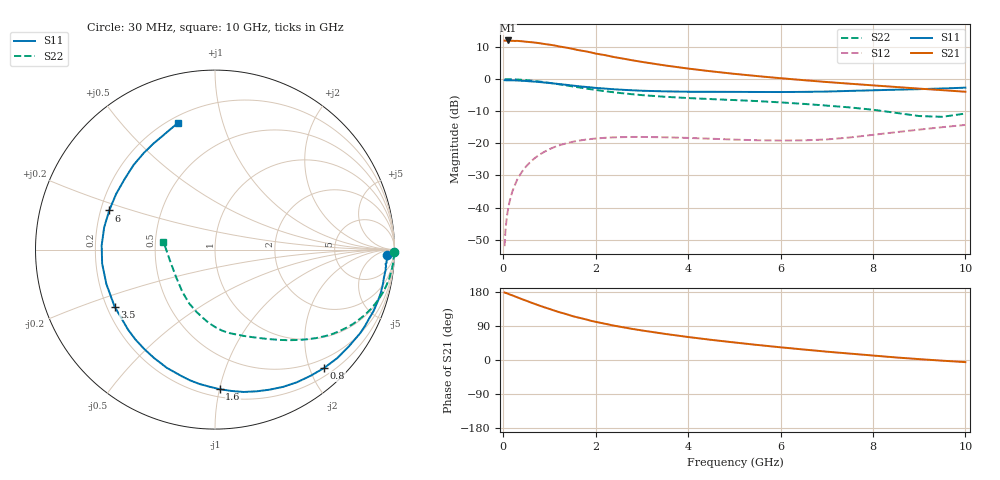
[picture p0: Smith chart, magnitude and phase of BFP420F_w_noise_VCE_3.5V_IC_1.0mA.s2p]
! Infineon Technologies  Discrete & RF Semiconductors
! BFP420F
! VCE =  3.5 V,  IC =  1.0 mA
! Common Emitter S-Parameters:  Sep 2011
# GHz  S  MA  R  50
!  f  S11  S21  S12  S22
! GHz  MAG  ANG  MAG  ANG  MAG  ANG  MAG  ANG
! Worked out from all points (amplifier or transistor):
!   54 points, 30 MHz to 10 GHz, reference 50 ohm
!   highest |S21| = 12.0 dB at 100 MHz (marker M1)
!   |S21| within 3 dB of that: start of sweep to 1.626 GHz
!   unconditionally stable (mu >= 1): 3.61 GHz to end of sweep
!   at 120 MHz: K = 0.02, MSG = 25.7 dB, |S12| = -39.3 dB
!   at 1.3 GHz: K = 0.21, MSG = 15.1 dB, |S12| = -20.3 dB
!   at 10 GHz: K = 1.83, MAG = -0.1 dB, |S12| = -14.3 dB
!   lowest NFmin = 0.80 dB at 450 MHz
!   S11 on the Smith chart (normalised r, x): 30 MHz: 32, -23; 800 MHz: 0.33, -2.24; 1.6 GHz: 0.25, -1.00; 3.5 GHz: 0.23, -0.25; 6 GHz: 0.24, +0.17; 10 GHz: 0.24, +0.72
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0.03  0.9598 -1.7  3.974 178.2  0.0025 88.2  0.9976 -0.9
0.05  0.9603 -2.7  3.952 176.8  0.0045 89.4  0.9975 -1.5
0.1  0.956 -6.1  3.994 174.9  0.0089 85.4  0.9961 -3.0
0.2  0.9553 -12.1  3.943 170.5  0.018 83.6  0.992 -6.1
0.35  0.9477 -21.1  3.908 163.3  0.0313 78.5  0.9797 -10.6
0.6  0.9203 -35.9  3.751 151.6  0.0522 70.1  0.9467 -17.9
0.8  0.8972 -47.3  3.605 142.8  0.0675 63.8  0.9127 -23.3
1.1  0.8537 -63.6  3.349 130.6  0.0869 54.5  0.8514 -30.8
1.4  0.8092 -78.6  3.058 119.7  0.1015 46.5  0.7893 -37.3
1.6  0.7782 -88.1  2.849 112.7  0.1088 41.5  0.7486 -41.2
1.7  0.7645 -92.3  2.767 109.8  0.1118 39.4  0.7287 -43.0
2  0.7288 -104.9  2.496 100.7  0.1186 33.3  0.6768 -48.1
2.4  0.6933 -119.2  2.202 90.6  0.1238 26.7  0.6221 -54.0
2.8  0.6689 -131.5  1.958 81.9  0.1256 21.8  0.5802 -59.2
3.5  0.6433 -150.4  1.631 68.9  0.124 15.8  0.5302 -66.9
4.5  0.6337 -172.9  1.32 53.2  0.1178 12.2  0.4875 -76.0
5.5  0.6298 168.6  1.113 39.7  0.1115 13.8  0.4539 -84.8
6  0.6283 159.7  1.032 33.5  0.1104 16.4  0.4335 -89.4
7  0.6393 141.6  0.9 22.0  0.1148 23.7  0.3865 -100.0
8.5  0.6833 120.1  0.753 6.7  0.1489 30.2  0.2977 -127.6
9.5  0.7135 110.7  0.672 -1.8  0.1782 28.7  0.2585 -166.5
10  0.7349 106.4  0.635 -5.6  0.1932 26.9  0.2905 171.2
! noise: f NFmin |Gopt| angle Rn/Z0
0.45  0.8  0.67  17  0.46
0.9  0.92  0.64  37  0.43
1.9  1.38  0.51  82  0.32
2.4  1.57  0.51  97  0.3
3.5  2.11  0.52  131  0.19
